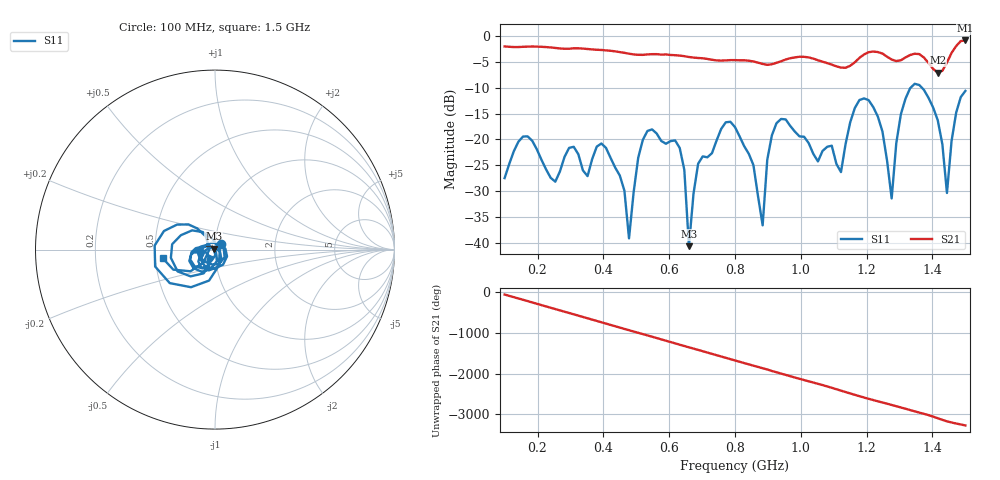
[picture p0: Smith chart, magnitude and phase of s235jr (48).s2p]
! NanoVNA-App
! Date: 2025-09-25 15:04:32
! Start: 100MHz Stop: 1,5GHz Points: 101
! S-Parameter data: F S11 S21 S12 S22
# Hz S RI R 50
!  Frequency  S11_Real  S11_Imag  S21_Real  S21_Imag  S12_Real  S12_Imag  S22_Real  S22_Imag
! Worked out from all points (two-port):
!   101 points, 100 MHz to 1.5 GHz, reference 50 ohm
!   highest |S21| = -0.81 dB at 1.5 GHz (marker M1); lowest = -7.0 dB at 1.416 GHz (marker M2)
!   |S21| within 3 dB of the highest: start of sweep to 640.3 MHz; 1.186 GHz to 1.259 GHz (72.59 MHz wide, 5.94 % of centre) (the widest 2 of 4)
!   lowest |S11| = -40.7 dB at 660 MHz (marker M3), VSWR 1.02, Z = 49.3 + j0.601 ohm
!   |S11| at or under -10 dB: start of sweep to 1.333 GHz; 1.368 GHz to end of sweep
!   S12 and S22 are empty: the file has one direction only
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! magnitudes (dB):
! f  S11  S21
! 100 MHz  -27.5  -2.0
! 156 MHz  -19.4  -2.0
! 338 MHz  -26.0  -2.4
! 408 MHz  -21.6  -2.7
! 478 MHz  -39.2  -3.4
! 520 MHz  -20.1  -3.6
! 576 MHz  -20.3  -3.6
! 632 MHz  -21.6  -3.7
! 660 MHz  -40.7  -4.0
! 688 MHz  -24.7  -4.2
! 800 MHz  -17.6  -4.6
! 884 MHz  -36.6  -5.4
! 898 MHz  -23.9  -5.5
! 926 MHz  -16.8  -5.1
! 1.038 GHz  -22.8  -4.3
! 1.122 GHz  -26.3  -6.1
! 1.206 GHz  -12.4  -3.1
! 1.276 GHz  -31.4  -4.5
! 1.332 GHz  -10.1  -3.6
! 1.416 GHz  -16.3  -7.0
! 1.444 GHz  -30.4  -5.1
! 1.5 GHz  -10.6  -0.8
